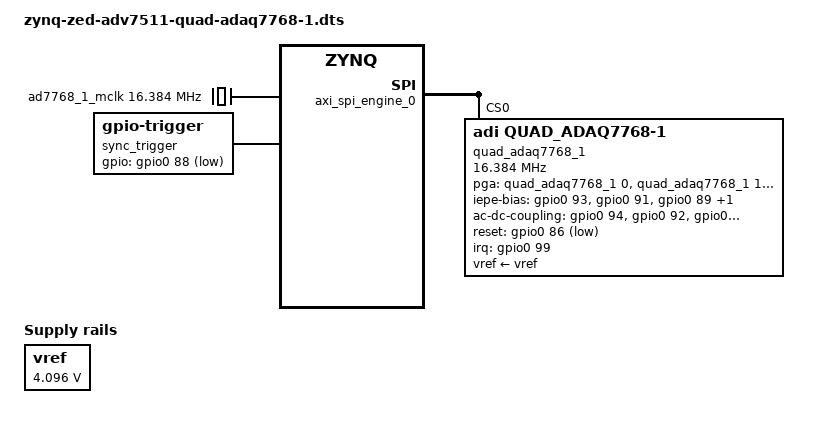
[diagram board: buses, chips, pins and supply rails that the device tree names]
// SPDX-License-Identifier: GPL-2.0
/*
 * Analog Devices ADAQ7768-1
 * https://wiki.analog.com/resources/eval/user-guides/ad7768-1
 *
 * hdl_project: <ad77681evb/zed>
 * board_revision: <B>
 *
 * Copyright (C) 2024 Analog Devices Inc.
 */
/dts-v1/;

#include "zynq-zed.dtsi"
#include "zynq-zed-adv7511.dtsi"
#include <dt-bindings/interrupt-controller/irq.h>
#include <dt-bindings/gpio/gpio.h>

#include <dt-bindings/iio/adc/adi,ad7768-1.h>

/ {
	vref: regulator-vref {
		compatible = "regulator-fixed";
		regulator-name = "fixed-supply";
		regulator-min-microvolt = <4096000>;
		regulator-max-microvolt = <4096000>;
		regulator-always-on;
	};

	clocks {
		ad7768_1_mclk: clock@0 {
			#clock-cells = <0>;
			compatible = "fixed-clock";
			clock-frequency = <16384000>;
			// clock-frequency = <32768000>;
		};
	};

	sync_trigger: triggers {
		compatible = "gpio-trigger";
		#trigger-source-cells = <0>;
		gpios = <&gpio0 88 GPIO_ACTIVE_LOW>;
	};
};

&fpga_axi {
	rx_dma: rx-dmac@0x44a30000 {
		compatible = "adi,axi-dmac-1.00.a";
		reg = <0x44a30000 0x1000>;
		#dma-cells = <1>;
		interrupt-parent = <&intc>;
		interrupts = <0 57 IRQ_TYPE_LEVEL_HIGH>;
		clocks = <&clkc 16>;

		adi,channels {
			#size-cells = <0>;
			#address-cells = <1>;

			dma-channel@0 {
				reg = <0>;
				adi,source-bus-width = <32>;
				adi,source-bus-type = <1>;
				adi,destination-bus-width = <64>;
				adi,destination-bus-type = <0>;
			};
		};
	};
	
	spi_clock: spieng-axi-clkgen@44b00000 {
		compatible = "adi,axi-clkgen-2.00.a";
		reg = <0x44b00000 0x10000>;
		#clock-cells = <0>;
		clocks = <&ad7768_1_mclk>, <&clkc 15>;
		clock-names = "clkin1", "s_axi_aclk";
		// assigned-clocks = <&mclk_out>;
		// assigned-clock-rates = <16384000>;
	};

	axi_spi_engine_0: spi@0x44a00000 {
		compatible = "adi,axi-spi-engine-1.00.a";
		reg = <0x44a00000 0x1000>;
		interrupt-parent = <&intc>;
		interrupts = <0 56 IRQ_TYPE_LEVEL_HIGH>;
		clocks = <&clkc 15 &spi_clock>;
		clock-names = "s_axi_aclk", "spi_clk";
		num-cs = <1>;

		// Offload mode
		trigger-sources = <&quad_adaq7768_1 AD7768_TRIGGER_SOURCE_DRDY>;
		dmas = <&rx_dma 0>;
		dma-names = "offload0-rx";
		// Offload mode

		#address-cells = <0x1>;
		#size-cells = <0x0>;

		/* Physical ADAQ7768-1 devices on actual SPI chip selects */
		quad_adaq7768_1: quad_adaq7768_1@0 {
			compatible = "adi,quad_adaq7768-1";
			reg = <0>;
			spi-max-frequency = <16384000>;
			spi-cpol;
			spi-cpha;
			vref-supply = <&vref>;
			gpio-controller;
			#gpio-cells = <2>;
			pga-gpios = <&quad_adaq7768_1 0 GPIO_ACTIVE_HIGH>,
				    <&quad_adaq7768_1 1 GPIO_ACTIVE_HIGH>,
				    <&quad_adaq7768_1 2 GPIO_ACTIVE_HIGH>;
			iepe-bias-gpios = <&gpio0 93 GPIO_ACTIVE_HIGH>,
					  <&gpio0 91 GPIO_ACTIVE_HIGH>,
					  <&gpio0 89 GPIO_ACTIVE_HIGH>,
					  <&gpio0 87 GPIO_ACTIVE_HIGH>;
			ac-dc-coupling-gpios = <&gpio0 94 GPIO_ACTIVE_HIGH>,
					       <&gpio0 92 GPIO_ACTIVE_HIGH>,
					       <&gpio0 90 GPIO_ACTIVE_HIGH>,
					       <&gpio0 88 GPIO_ACTIVE_HIGH>;
			
			interrupts = <99 IRQ_TYPE_EDGE_RISING>;
			interrupt-parent = <&gpio0>;
			#trigger-source-cells = <1>;
			
			reset-gpios = <&gpio0 86 GPIO_ACTIVE_LOW>;
			spi-rx-bus-width = <1 1 1 1>;
			clocks = <&ad7768_1_mclk>;
			clock-names = "mclk";
			#io-channel-cells = <1>;
			#address-cells = <1>;
			#size-cells = <0>;

			channel@0 {
				reg = <0>;
				label = "channel_0";
				diff-channels = <0 1>;
			};

			channel@1 {
				reg = <1>;
				label = "channel_1";
				single-channel = <2>;
			};

			channel@2 {
				reg = <2>;
				label = "channel_2";
				diff-channels = <4 5>;
			};

			channel@3 {
				reg = <3>;
				label = "channel_3";
				adi,dc-coupling;
				single-channel = <6>;
			};
		};
	};
};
